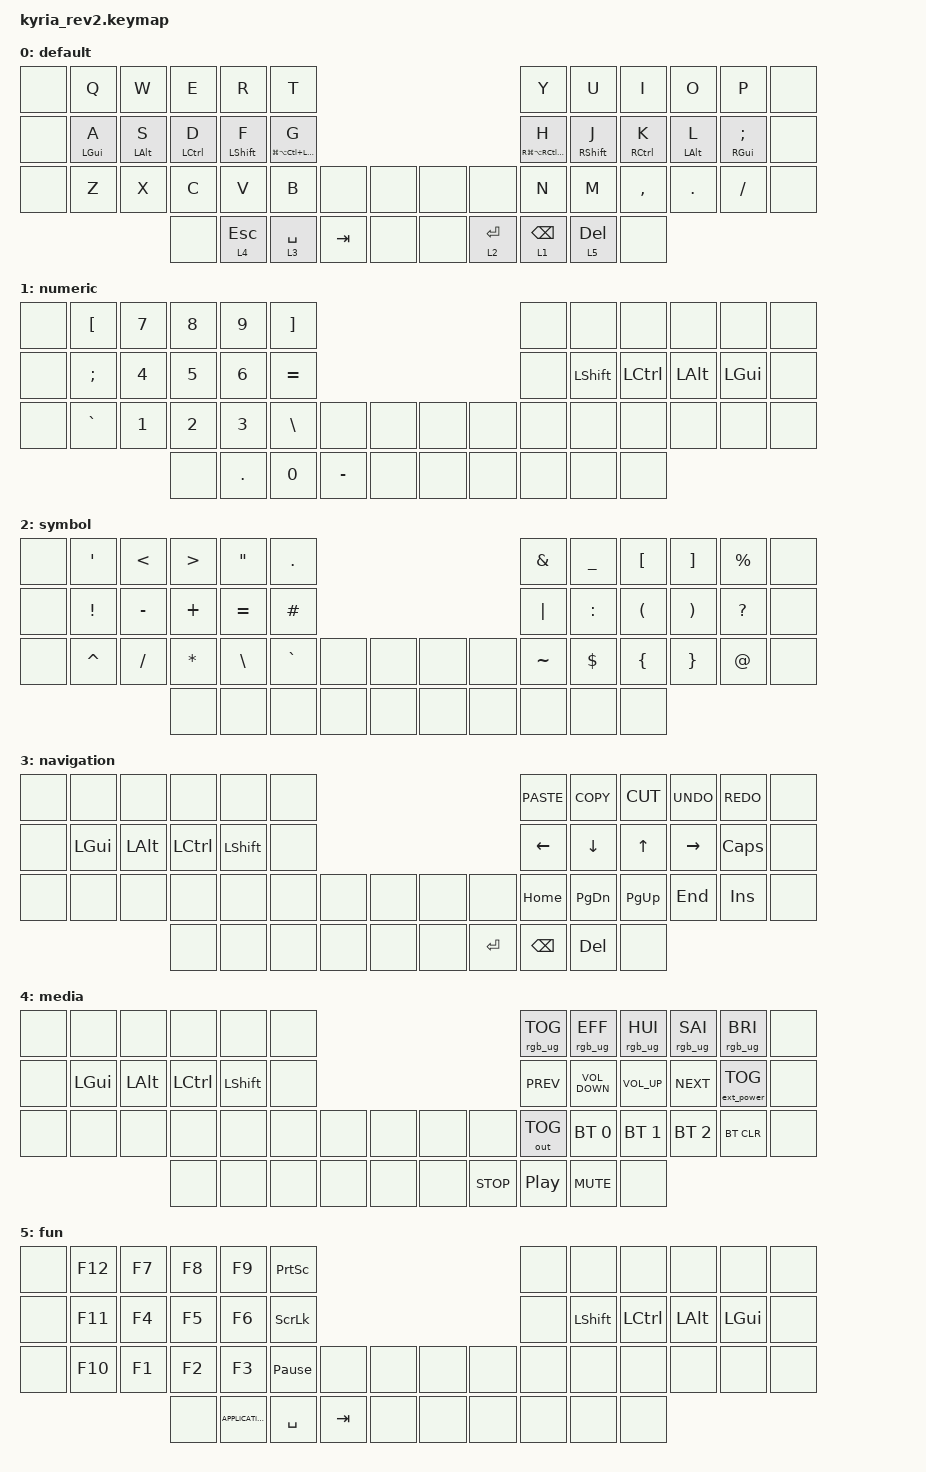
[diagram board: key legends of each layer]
/*
 * Copyright (c) 2020 The ZMK Contributors
 *
 * SPDX-License-Identifier: MIT
 */

#include <behaviors.dtsi>
#include <dt-bindings/zmk/bt.h>
#include <dt-bindings/zmk/ext_power.h>
#include <dt-bindings/zmk/keys.h>
#include <dt-bindings/zmk/outputs.h>
#include <dt-bindings/zmk/rgb.h>

#define DEFAULT    0
#define NUMERIC    1
#define SYMBOL     2
#define NAVIGATION 3
#define MEDIA      4
#define FUN        5

&nice_view_spi {
    cs-gpios = <&pro_micro 0 GPIO_ACTIVE_HIGH>;
};

/ {
    behaviors {
        hm: homerow_mods {
            compatible = "zmk,behavior-hold-tap";
            label = "HOMEROW_MODS";
            #binding-cells = <2>;
            tapping-term-ms = <190>;
            quick-tap-ms = <0>;
            flavor = "tap-preferred";
            bindings =
                <&kp>,
                <&kp>;
        };
        lh_pht: left_hand_positional_hold_tap {
            compatible = "zmk,behavior-hold-tap";
            label = "LEFT_HAND_POSITIONAL_HOLD_TAP";
            bindings =
                <&kp>,
                <&kp>;

            #binding-cells = <2>;
            tapping-term-ms = <190>;
            quick-tap-ms = <200>;
            flavor = "tap-unless-interrupted";
            hold-trigger-key-positions = <19 20 21 22 18 23 6 7 8 9 10 11 18 19 20 21 22 23 34 35 36 37 38 39>;
        };
        rh_pht: right_hand_positional_hold_tap {
            compatible = "zmk,behavior-hold-tap";
            label = "RIGHT_HAND_POSITIONAL_HOLD_PATH";
            bindings =
                <&kp>,
                <&kp>;

            #binding-cells = <2>;
            tapping-term-ms = <100>;
            quick-tap-ms = <200>;
            flavor = "tap-unless-interrupted";
            hold-trigger-key-positions = <13 16 15 14 17 12>;
        };
    };

    macros {
        walrus: walrus {
            compatible = "zmk,behavior-macro";
            label = "walrus";
            #binding-cells = <0>;
            bindings =
                <&macro_tap_time 20>,
                <&macro_wait_time 20>,
                <&kp COLON &kp EQUAL>;
        };
    };

    combos {
        compatible = "zmk,combos";

        right_alt_right {
            bindings = <&kp RIGHT_ALT>;
            key-positions = <19 21>;
            timeout-ms = <100>;
            layers = <0>;
        };

        right_alt_left {
            bindings = <&kp RIGHT_ALT>;
            key-positions = <16 14>;
            timeout-ms = <100>;
            layers = <0>;
        };
    };

    keymap {
        compatible = "zmk,keymap";

        default {
            // ---------------------------------------------------------------------------------------------------------------------------------
            // |  ESC  |  Q  |  W  |  E  |  R  |   T   |                              |  Y  |  U  |   I   | O | P |  \   |
            // |  TAB  |  A  |  S  |  D  |  F  |   G   |                              |  H  |  J  |   K   | L | ; |  '   |
            // | SHIFT |  Z  |  X  |  C  |  V  |   B   | BT0  | BT1 |  | BT2 | BT CLR |  N  |  M  |   ,   | . | / | CTRL |
            //                     | GUI | TAB | SPACE | BSPC | DEL |  | DEL | LSHIFT | RET | ESC | R-ALT |

            bindings = <
&none       &kp Q       &kp W               &kp E             &kp R                         &kp T                                                               &kp Y              &kp U                &kp I       &kp O               &kp P  &none
&none  &hm LGUI A  &hm LALT S  &hm LEFT_CONTROL D  &hm LEFT_SHIFT F  &hm LG(LA(LC(LEFT_SHIFT))) G                                       &hm RG(LA(RC(RIGHT_SHIFT))) H  &hm RIGHT_SHIFT J  &hm RIGHT_CONTROL K  &hm LALT L  &hm RIGHT_GUI SEMI  &none
&none       &kp Z       &kp X               &kp C             &kp V                         &kp B    &none  &none  &none         &none                          &kp N              &kp M            &kp COMMA     &kp DOT            &kp FSLH  &none
                                            &none         &lt 4 ESC                   &lt 3 SPACE  &kp TAB  &none  &none  &lt 2 RETURN                &lt 1 BACKSPACE       &lt 5 DELETE                &none
            >;
        };

        numeric {
            // ---------------------------------------------------------------------------------------------------------------------------------
            // | | | 7 | 8 | 9 | , |                 | | + | * | | | |
            // | | | 4 | 5 | 6 | . |                 | | - | / | | | |
            // | | | 1 | 2 | 3 | = |        | |  | | | |   |   | | | |
            //         |   |   | 0 | LSHIFT | |  | | | |   |   |

            bindings = <
&none  &kp LEFT_BRACKET  &kp N7  &kp N8   &kp N9  &kp RIGHT_BRACKET                                  &none           &none             &none         &none         &none  &none
&none     &kp SEMICOLON  &kp N4  &kp N5   &kp N6          &kp EQUAL                                  &none  &kp LEFT_SHIFT  &kp LEFT_CONTROL  &kp LEFT_ALT  &kp LEFT_GUI  &none
&none         &kp GRAVE  &kp N1  &kp N2   &kp N3      &kp BACKSLASH      &none  &none  &none  &none  &none           &none             &none         &none         &none  &none
                                  &none  &kp DOT             &kp N0  &kp MINUS  &none  &none  &none  &none           &none             &none
            >;
        };

        symbol {
            bindings = <
&none  &kp SINGLE_QUOTE  &kp LESS_THAN  &kp GREATER_THAN  &kp DOUBLE_QUOTES    &kp DOT                              &kp AMPERSAND  &kp UNDERSCORE      &kp LEFT_BRACKET      &kp RIGHT_BRACKET   &kp PERCENT  &none
&none   &kp EXCLAMATION      &kp MINUS          &kp PLUS          &kp EQUAL   &kp HASH                                   &kp PIPE       &kp COLON  &kp LEFT_PARENTHESIS  &kp RIGHT_PARENTHESIS  &kp QUESTION  &none
&none         &kp CARET      &kp SLASH      &kp ASTERISK      &kp BACKSLASH  &kp GRAVE  &none  &none  &none  &none      &kp TILDE      &kp DOLLAR        &kp LEFT_BRACE        &kp RIGHT_BRACE        &kp AT  &none
                                                   &none              &none      &none  &none  &none  &none  &none          &none           &none                 &none
            >;
        };

        navigation {
            bindings = <
&none         &none         &none             &none           &none  &none                                      &kp K_PASTE      &kp K_COPY     &kp K_CUT       &kp K_UNDO    &kp K_REDO  &none
&none  &kp LEFT_GUI  &kp LEFT_ALT  &kp LEFT_CONTROL  &kp LEFT_SHIFT  &none                                   &kp LEFT_ARROW  &kp DOWN_ARROW  &kp UP_ARROW  &kp RIGHT_ARROW  &kp CAPSLOCK  &none
&none         &none         &none             &none           &none  &none  &none  &none  &none       &none        &kp HOME   &kp PAGE_DOWN   &kp PAGE_UP          &kp END    &kp INSERT  &none
                                              &none           &none  &none  &none  &none  &none  &kp RETURN   &kp BACKSPACE      &kp DELETE         &none
            >;
        };

        media {
            bindings = <
&none         &none         &none             &none           &none  &none                                    &rgb_ug RGB_TOG    &rgb_ug RGB_EFF  &rgb_ug RGB_HUI  &rgb_ug RGB_SAI    &rgb_ug RGB_BRI  &none
&none  &kp LEFT_GUI  &kp LEFT_ALT  &kp LEFT_CONTROL  &kp LEFT_SHIFT  &none                                         &kp C_PREV  &kp C_VOLUME_DOWN  &kp C_VOLUME_UP       &kp C_NEXT  &ext_power EP_TOG  &none
&none         &none         &none             &none           &none  &none  &none  &none  &none       &none      &out OUT_TOG       &bt BT_SEL 0     &bt BT_SEL 1     &bt BT_SEL 2         &bt BT_CLR  &none
                                              &none           &none  &none  &none  &none  &none  &kp C_STOP  &kp C_PLAY_PAUSE         &kp C_MUTE            &none
            >;
        };

        fun {
            bindings = <
&none  &kp F12  &kp F7  &kp F8             &kp F9  &kp PRINTSCREEN                                &none           &none             &none         &none         &none  &none
&none  &kp F11  &kp F4  &kp F5             &kp F6   &kp SCROLLLOCK                                &none  &kp LEFT_SHIFT  &kp LEFT_CONTROL  &kp LEFT_ALT  &kp LEFT_GUI  &none
&none  &kp F10  &kp F1  &kp F2             &kp F3  &kp PAUSE_BREAK    &none  &none  &none  &none  &none           &none             &none         &none         &none  &none
                         &none  &kp K_APPLICATION        &kp SPACE  &kp TAB  &none  &none  &none  &none           &none             &none
            >;
        };
    };
};
